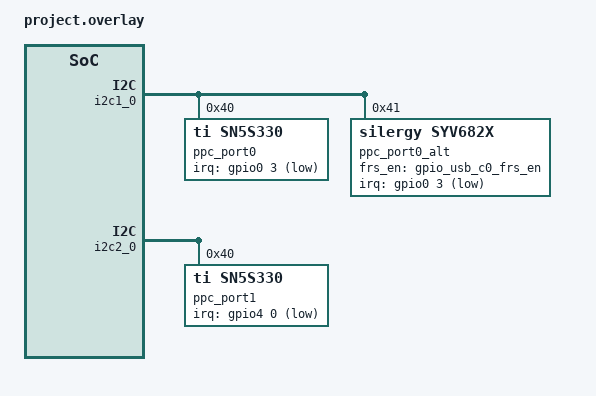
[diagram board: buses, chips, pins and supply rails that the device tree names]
/* Copyright 2022 The ChromiumOS Authors
 * Use of this source code is governed by a BSD-style license that can be
 * found in the LICENSE file.
 */

/* Herobrine program common DTS includes */
#include "../adc.dtsi"
#include "../common.dtsi"
#include "../i2c.dtsi"
#include "../interrupts.dtsi"
#include "../keyboard.dtsi"
#include "../default_gpio_pinctrl.dtsi"
#include "../display.dtsi"
#include "../gpio.dtsi"
#include "../motionsense.dtsi"
#include "../switchcap.dtsi"
#include "../usbc.dtsi"

/* Herobrine project DTS includes*/
#include "led_pins.dtsi"
#include "led_policy.dtsi"

/* herobrine overrides follow... */
/* battery overrides */
/ {
	batteries {
		default_battery: ap16l5j {
			compatible = "panasonic,ap16l5j", "battery-smart";
		};
	};
};

/* i2c overrides */
&i2c1_0 {

	/delete-node/ syv682x@41;
	ppc_port0: sn5s330@40 {
		compatible = "ti,sn5s330";
		status = "okay";
		reg = <0x40>;
		/* a duplicate of the <&gpio_usb_c0_swctl_int_odl> node in
		 * "named-gpios". This is the Zephyr preferred style,
		 * the "named-gpios" node will be dealt with at a later date.
		 */
		irq-gpios = <&gpio0 3 GPIO_ACTIVE_LOW>;
	};

	ppc_port0_alt: syv682x@41 {
		compatible = "silergy,syv682x";
		status = "okay";
		reg = <0x41>;
		frs_en_gpio = <&gpio_usb_c0_frs_en>;
		/* a duplicate of the <&gpio_usb_c0_swctl_int_odl> node in
		 * "named-gpios". This is the Zephyr preferred style,
		 * the "named-gpios" node will be dealt with at a later date.
		 */
		irq-gpios = <&gpio0 3 GPIO_ACTIVE_LOW>;
	};
};

&i2c2_0 {

	/delete-node/ syv682x@41;
	ppc_port1: sn5s330@40 {
		compatible = "ti,sn5s330";
		status = "okay";
		reg = <0x40>;
		/* a duplicate of the <&gpio_usb_c1_swctl_int_odl> node in
		 * "named-gpios". This is the Zephyr preferred style,
		 * the "named-gpios" node will be dealt with at a later date.
		 */
		irq-gpios = <&gpio4 0 GPIO_ACTIVE_LOW>;
	};
};

/* usbc overrides */
&port0 {
	ppc_alt = <&ppc_port0_alt>;
};
